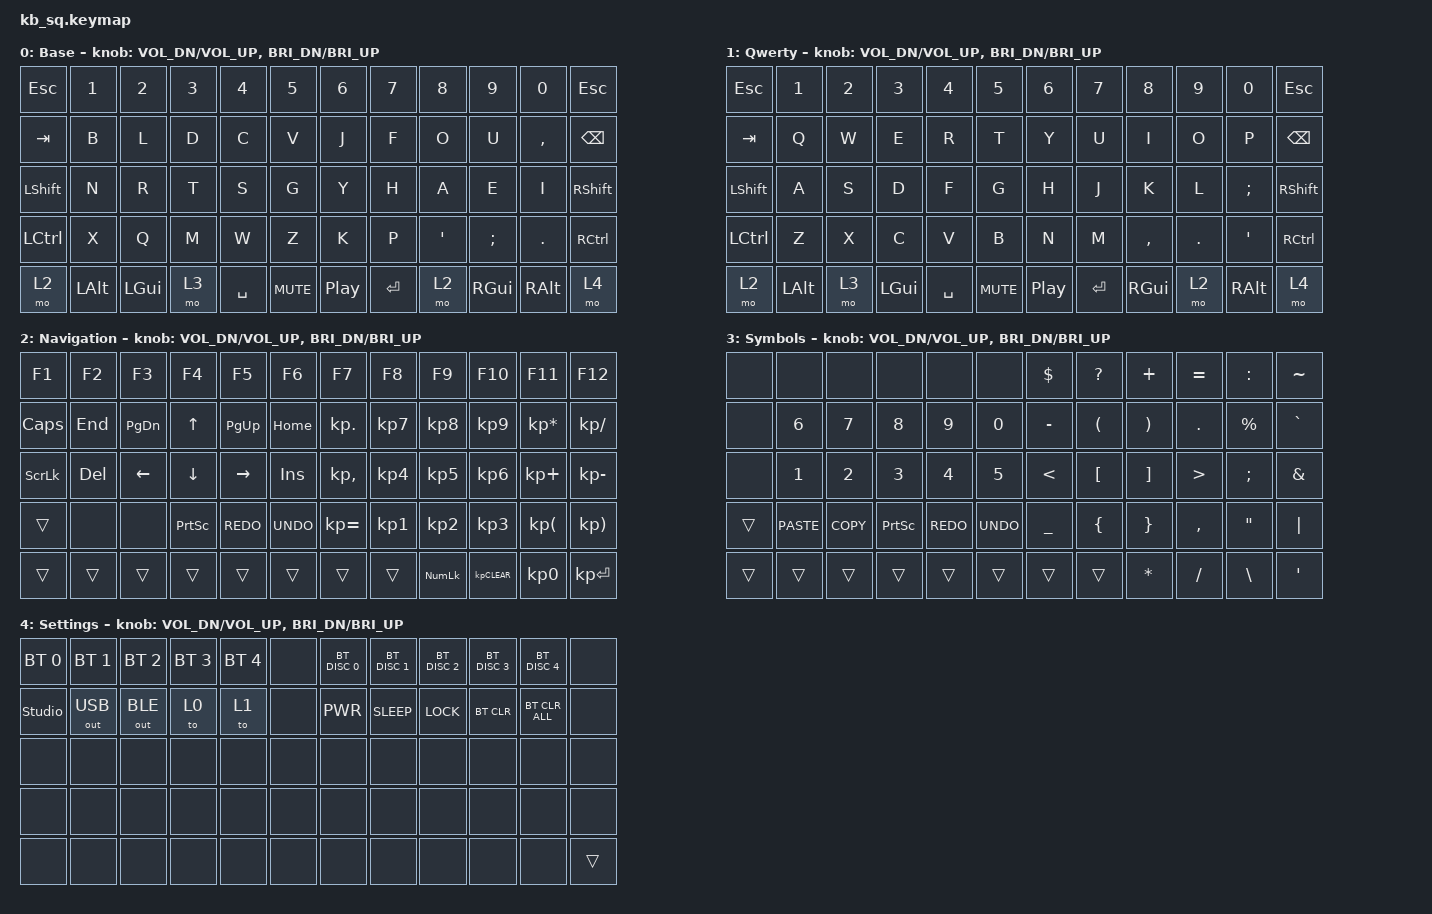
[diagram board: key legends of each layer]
// This file was generated from a template. Edit it to match your keyboard.
// See https://zmk.dev/docs/development/hardware-integration/new-shield for more instructions.

#include <behaviors.dtsi>
#include <dt-bindings/zmk/keys.h>
#include <dt-bindings/zmk/bt.h>
#include <dt-bindings/zmk/outputs.h>

/ {
    // Define a default keymap here.
    // See https://zmk.dev/docs/development/hardware-integration/new-shield#default-keymap.
    keymap {
        compatible = "zmk,keymap";
        default_layer {
            display-name = "Base";
            bindings = <
                &kp ESC     &kp N1      &kp N2      &kp N3      &kp N4      &kp N5      &kp N6      &kp N7      &kp N8      &kp N9      &kp N0      &kp ESC
                &kp TAB     &kp B       &kp L       &kp D       &kp C       &kp V       &kp J       &kp F       &kp O       &kp U       &kp COMMA   &kp BSPC
                &kp LSHIFT  &kp N       &kp R       &kp T       &kp S       &kp G       &kp Y       &kp H       &kp A       &kp E       &kp I       &kp RSHIFT
                &kp LCTRL   &kp X       &kp Q       &kp M       &kp W       &kp Z       &kp K       &kp P       &kp SQT     &kp SEMI    &kp DOT     &kp RCTRL
                &mo 2       &kp LALT    &kp LGUI       &mo 3    &kp SPACE   &kp C_MUTE  &kp C_PP    &kp RETURN  &mo 2    &kp RGUI       &kp RALT    &mo 4
            >;
            sensor-bindings = < &inc_dec_kp C_VOL_DN C_VOL_UP &inc_dec_kp C_BRI_DN C_BRI_UP >;
        };
        qwerty_layer {
            display-name = "Qwerty";
            bindings = <
                &kp ESC     &kp N1      &kp N2      &kp N3      &kp N4      &kp N5      &kp N6      &kp N7      &kp N8      &kp N9      &kp N0      &kp ESC
                &kp TAB     &kp Q       &kp W       &kp E       &kp R       &kp T       &kp Y       &kp U       &kp I       &kp O       &kp P       &kp BSPC
                &kp LSHIFT  &kp A       &kp S       &kp D       &kp F       &kp G       &kp H       &kp J       &kp K       &kp L       &kp SEMI    &kp RSHIFT
                &kp LCTRL   &kp Z       &kp X       &kp C       &kp V       &kp B       &kp N       &kp M       &kp COMMA   &kp DOT     &kp SQT     &kp RCTRL
                &mo 2       &kp LALT    &mo 3       &kp LGUI    &kp SPACE   &kp C_MUTE  &kp C_PP    &kp RETURN  &kp RGUI    &mo 2       &kp RALT    &mo 4
            >;
            sensor-bindings = < &inc_dec_kp C_VOL_DN C_VOL_UP &inc_dec_kp C_BRI_DN C_BRI_UP >;
        };
        nav_layer {
            display-name = "Navigation";
            bindings = <
                &kp F1      &kp F2      &kp F3      &kp F4      &kp F5      &kp F6      &kp F7          &kp F8      &kp F9      &kp F10         &kp F11         &kp F12
                &kp CAPS    &kp END     &kp PG_DN   &kp UP      &kp PG_UP   &kp HOME    &kp KP_DOT      &kp KP_N7   &kp KP_N8   &kp KP_N9       &kp KP_MULTIPLY &kp KP_DIVIDE
                &kp SLCK    &kp DEL     &kp LEFT    &kp DOWN    &kp RIGHT   &kp INS     &kp KP_COMMA    &kp KP_N4   &kp KP_N5   &kp KP_N6       &kp KP_PLUS     &kp KP_MINUS
                &trans      &none       &none       &kp PSCRN   &kp K_REDO  &kp K_UNDO  &kp KP_EQUAL    &kp KP_N1   &kp KP_N2   &kp KP_N3       &kp KP_LPAR     &kp KP_RPAR
                &trans      &trans      &trans      &trans      &trans      &trans      &trans          &trans      &kp KP_NUM  &kp KP_CLEAR    &kp KP_N0       &kp KP_ENTER
            >;
            sensor-bindings = < &inc_dec_kp C_VOL_DN C_VOL_UP &inc_dec_kp C_BRI_DN C_BRI_UP >;
        };
        symbols_layer {
            display-name = "Symbols";
            bindings = <
                &none       &none       &none       &none       &none       &none       &kp DOLLAR  &kp QMARK   &kp PLUS    &kp EQUAL   &kp COLON   &kp TILDE
                &none       &kp N6      &kp N7      &kp N8      &kp N9      &kp N0      &kp MINUS   &kp LPAR    &kp RPAR    &kp DOT     &kp PERCENT &kp GRAVE
                &none       &kp N1      &kp N2      &kp N3      &kp N4      &kp N5      &kp LT      &kp LBKT    &kp RBKT    &kp GT      &kp SEMI    &kp AMPS
                &trans      &kp K_PASTE &kp K_COPY  &kp PSCRN   &kp K_REDO  &kp K_UNDO  &kp UNDER   &kp LBRC    &kp RBRC    &kp COMMA   &kp DQT     &kp PIPE
                &trans      &trans      &trans      &trans      &trans      &trans      &trans      &trans      &kp STAR    &kp FSLH    &kp BSLH    &kp SQT
            >;
            sensor-bindings = < &inc_dec_kp C_VOL_DN C_VOL_UP &inc_dec_kp C_BRI_DN C_BRI_UP >;

        };
        settings_layer {
            display-name = "Settings";
            bindings = <
                &bt BT_SEL 0    &bt BT_SEL 1    &bt BT_SEL 2    &bt BT_SEL 3    &bt BT_SEL 4    &none   &bt BT_DISC 0   &bt BT_DISC 1   &bt BT_DISC 2   &bt BT_DISC 3   &bt BT_DISC 4   &none
                &studio_unlock  &out OUT_USB    &out OUT_BLE    &to 0           &to 1           &none   &kp K_PWR       &kp K_SLEEP     &kp K_LOCK      &bt BT_CLR           &bt BT_CLR_ALL           &none
                &none           &none           &none           &none           &none           &none   &none           &none           &none           &none           &none           &none
                &none           &none           &none           &none           &none           &none   &none           &none           &none           &none           &none           &none
                &none           &none           &none           &none           &none           &none   &none           &none           &none           &none      &none  &trans
            >;
            sensor-bindings = < &inc_dec_kp C_VOL_DN C_VOL_UP &inc_dec_kp C_BRI_DN C_BRI_UP >;
        };

        extra_layer_1 {
            status = "reserved";
        };
        extra_layer_2 {
            status = "reserved";
        };
        extra_layer_3 {
            status = "reserved";
        };

    };
};
